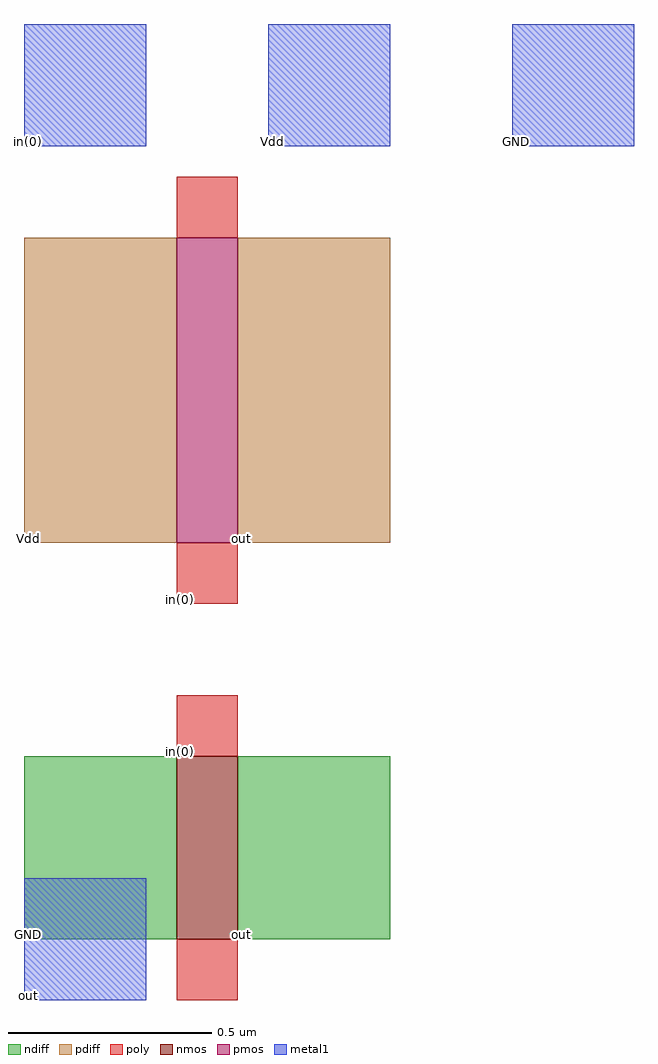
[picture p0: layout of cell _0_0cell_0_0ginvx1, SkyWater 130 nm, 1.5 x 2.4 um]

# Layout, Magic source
magic
tech sky130A
magscale 1 2
<< nmos >>
rect 195 90 225 180
<< pmos >>
rect 195 285 225 435
<< ndiff >>
rect 120 90 195 180
rect 225 90 300 180
<< pdiff >>
rect 120 285 195 435
rect 225 285 300 435
<< poly >>
rect 195 435 225 465
rect 195 255 225 285
rect 195 180 225 210
rect 195 60 225 90
<< metal1 >>
rect 120 480 180 540
rect 240 480 300 540
rect 360 480 420 540
rect 120 60 180 120
<< labels >>
rlabel ndiff 227 92 227 92 3 out
rlabel pdiff 227 287 227 287 3 out
rlabel poly 197 182 197 182 3 in(0)
rlabel poly 197 257 197 257 3 in(0)
rlabel ndiff 122 92 122 92 3 GND
rlabel pdiff 122 287 122 287 3 Vdd
rlabel metal1 362 482 362 482 3 GND
port 1 e
rlabel metal1 242 482 242 482 3 Vdd
port 2 e
rlabel metal1 122 62 122 62 3 out
port 3 e
rlabel metal1 122 482 122 482 3 in(0)
port 4 e
<< end >>
